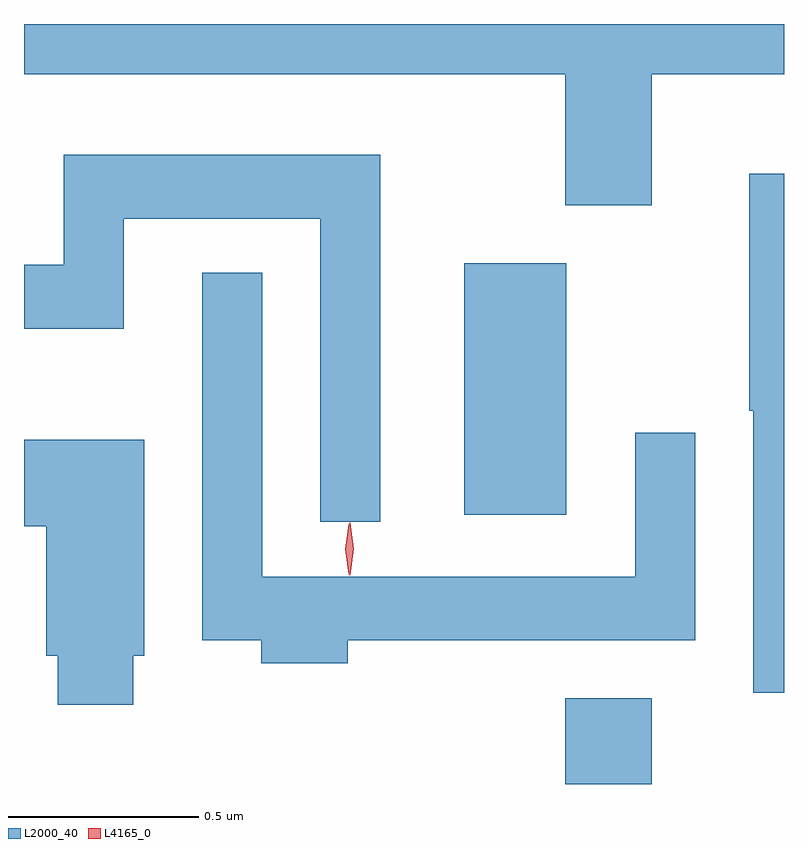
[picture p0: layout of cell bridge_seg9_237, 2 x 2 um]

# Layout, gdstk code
import gdstk
lib = gdstk.Library(unit=1e-6, precision=1e-09)
def R(c, l, rs):  # rectangles x0, y0, x1, y1
    for r in rs: c.add(gdstk.rectangle(r[:2], r[2:], *l))
def P(c, l, *ps):  # polygons
    for p in ps: c.add(gdstk.Polygon(p, *l))
L2000_40 = (2000, 40)
L4165_0 = (4165, 0)

bridge_seg9_237 = lib.new_cell('bridge_seg9_237')
R(bridge_seg9_237, L2000_40, [(1491.281,1947.768,1491.509,1947.994), (1491.016,1948.476,1491.284,1949.139)])
P(bridge_seg9_237, L2000_40, [(1491.509,1949.636),(1491.857,1949.636),(1491.857,1949.768),(1489.857,1949.768),(1489.857,1949.636),(1491.281,1949.636),(1491.281,1949.291),(1491.509,1949.291)],
  [(1490.794,1949.424),(1489.961,1949.424),(1489.961,1949.134),(1489.857,1949.134),(1489.857,1948.966),(1490.119,1948.966),(1490.119,1949.256),(1490.636,1949.256),(1490.636,1948.458),(1490.794,1948.458)],
  [(1491.857,1949.374),(1491.766,1949.374),(1491.766,1948.75),(1491.776,1948.75),(1491.776,1948.008),(1491.857,1948.008)],
  [(1490.709,1948.146),(1491.624,1948.146),(1491.624,1948.693),(1491.466,1948.693),(1491.466,1948.314),(1490.484,1948.314),(1490.484,1949.113),(1490.326,1949.113),(1490.326,1948.146),(1490.481,1948.146),(1490.481,1948.086),(1490.709,1948.086)],
  [(1490.144,1948.106),(1490.174,1948.106),(1490.174,1948.674),(1489.857,1948.674),(1489.857,1948.446),(1489.916,1948.446),(1489.916,1948.106),(1489.946,1948.106),(1489.946,1947.976),(1490.144,1947.976)])
P(bridge_seg9_237, L4165_0, [(1490.712,1948.319),(1490.711,1948.32),(1490.702,1948.386),(1490.712,1948.452),(1490.712,1948.453),(1490.712,1948.452),(1490.722,1948.386),(1490.712,1948.32)],
  [(1490.715,1948.317),(1490.714,1948.318),(1490.705,1948.387),(1490.714,1948.456),(1490.715,1948.456),(1490.715,1948.456),(1490.725,1948.387),(1490.715,1948.318)])

lib.write_gds('bridge_seg9_237.gds')
